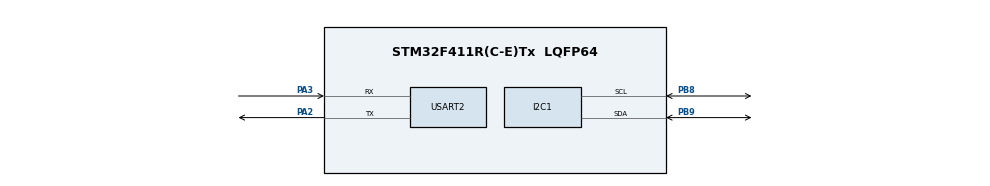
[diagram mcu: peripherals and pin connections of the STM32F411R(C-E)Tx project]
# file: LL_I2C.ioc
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Dma.I2C1_RX.1.Direction=DMA_PERIPH_TO_MEMORY
Dma.I2C1_RX.1.FIFOMode=DMA_FIFOMODE_DISABLE
Dma.I2C1_RX.1.Instance=DMA1_Stream0
Dma.I2C1_RX.1.MemDataAlignment=DMA_MDATAALIGN_BYTE
Dma.I2C1_RX.1.MemInc=DMA_MINC_ENABLE
Dma.I2C1_RX.1.Mode=DMA_NORMAL
Dma.I2C1_RX.1.PeriphDataAlignment=DMA_PDATAALIGN_BYTE
Dma.I2C1_RX.1.PeriphInc=DMA_PINC_DISABLE
Dma.I2C1_RX.1.Priority=DMA_PRIORITY_LOW
Dma.I2C1_TX.0.Direction=DMA_MEMORY_TO_PERIPH
Dma.I2C1_TX.0.FIFOMode=DMA_FIFOMODE_DISABLE
Dma.I2C1_TX.0.Instance=DMA1_Stream1
Dma.I2C1_TX.0.MemDataAlignment=DMA_MDATAALIGN_BYTE
Dma.I2C1_TX.0.MemInc=DMA_MINC_ENABLE
Dma.I2C1_TX.0.Mode=DMA_NORMAL
Dma.I2C1_TX.0.PeriphDataAlignment=DMA_PDATAALIGN_BYTE
Dma.I2C1_TX.0.PeriphInc=DMA_PINC_DISABLE
Dma.I2C1_TX.0.Priority=DMA_PRIORITY_LOW
Dma.Request0=I2C1_TX
Dma.Request1=I2C1_RX
Mcu.Family=STM32F4
Mcu.Name=STM32F411R(C-E)Tx
Mcu.Package=LQFP64
NVIC.DMA1_Stream0_IRQn=true\:0\:0\:false\:false\:false\:false\:true\:true
NVIC.DMA1_Stream1_IRQn=true\:0\:0\:false\:false\:false\:false\:true\:true
NVIC.PriorityGroup=NVIC_PRIORITYGROUP_4
PA2.Mode=Asynchronous
PA2.Signal=USART2_TX
PA3.Mode=Asynchronous
PA3.Signal=USART2_RX
PB8.GPIO_Pu=GPIO_NOPULL
PB8.Mode=I2C
PB8.Signal=I2C1_SCL
PB9.GPIO_Pu=GPIO_NOPULL
PB9.Mode=I2C
PB9.Signal=I2C1_SDA
ProjectManager.HeapSize=0x200
ProjectManager.StackSize=0x400
ProjectManager.TargetToolchain=STM32CubeIDE
RCC.AHBFreq_Value=16000000
RCC.APB1Freq_Value=16000000
RCC.APB2Freq_Value=16000000
RCC.CortexFreq_Value=16000000
RCC.HSE_VALUE=25000000
RCC.HSI_VALUE=16000000
RCC.LSE_VALUE=32768
RCC.SYSCLKFreq_VALUE=16000000
RCC.VCOOutputFreq_Value=192000000
USART2.VirtualMode=VM_ASYNC
board=custom

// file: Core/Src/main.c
/* USER CODE BEGIN Header */
/**
  ******************************************************************************
  * @file           : main.c
  * @brief          : Main program body
  ******************************************************************************
  * @attention
  *
  * Copyright (c) 2026 STMicroelectronics.
  * All rights reserved.
  *
  * This software is licensed under terms that can be found in the LICENSE file
  * in the root directory of this software component.
  * If no LICENSE file comes with this software, it is provided AS-IS.
  *
  ******************************************************************************
  */
/* USER CODE END Header */
#include "main.h"
#include "dma.h"
#include "i2c.h"
#include "usart.h"
#include "gpio.h"

/* USER CODE BEGIN Includes */

#include "stdlib.h"

#define ds3231_addr 0x68<<1

uint8_t NumOfDevices;

uint8_t RTCData[3]={0};

uint8_t RTCDataWrite[3]={0};

volatile uint8_t I2C_Tx_Completed=0;

volatile uint8_t I2C_Rx_Completed=0;

/* USER CODE END Includes */

void SystemClock_Config(void);

/* USER CODE BEGIN 0 */
int __io_putchar(int ch)
{
	while (!LL_USART_IsActiveFlag_TXE(USART2))
	{

	}

	LL_USART_TransmitData8(USART2, (char)ch);

	return ch;
}

void I2C1_DMA_Tx_Completed(void)
{
	I2C_Tx_Completed=1;
}

void I2C1_DMA_Rx_Completed(void)
{
	I2C_Rx_Completed=1;
}

/* USER CODE END 0 */

int main(void)
{

  /* MCU Configuration--------------------------------------------------------*/

  /* Reset of all peripherals, Initializes the Flash interface and the Systick. */
  HAL_Init();

  /* Configure the system clock */
  SystemClock_Config();

  /* Initialize all configured peripherals */
  MX_GPIO_Init();
  MX_DMA_Init();
  MX_I2C1_Init();
  MX_USART2_UART_Init();

  /* Infinite loop */
  while (1)
  {

    /* USER CODE BEGIN 3 */

	 // NumOfDevices=I2C_Scan(I2C1);

	  I2C_Mem_Read_DMA(I2C1,ds3231_addr,0x00,1,RTCData,3);

	  while(I2C_Rx_Completed==0);
	  I2C_Rx_Completed=0;

	  if((bcdToDec(RTCData[0]) % 5) == 0)
	  {

		  RTCDataWrite[0]=DEC_to_BCD(1);
		  RTCDataWrite[1]=DEC_to_BCD(random()%10);
		  RTCDataWrite[2]=DEC_to_BCD(random()%10);
		  printf("New value set\r\n");

		  I2C_Mem_Write_DMA(I2C1,ds3231_addr,0x00,1,RTCDataWrite,3);
		  while(I2C_Tx_Completed==0);
		  I2C_Tx_Completed=0;

	  }

	  printf("DS3231 register values:\r\n");

	  printf("Seconds=%d\r\n",bcdToDec(RTCData[0]));
	  printf("Minutes=%d\r\n",bcdToDec(RTCData[1]));
	  printf("Hours=%d\r\n",bcdToDec(RTCData[2]));

	  for (volatile int32_t i=0;i<1000000;i++)
	  {
		  //DO Nothing
	  }

  }
  /* USER CODE END 3 */
}

void SystemClock_Config(void)
{
  LL_FLASH_SetLatency(LL_FLASH_LATENCY_0);
  while(LL_FLASH_GetLatency()!= LL_FLASH_LATENCY_0)
  {
  }
  LL_PWR_SetRegulVoltageScaling(LL_PWR_REGU_VOLTAGE_SCALE1);
  LL_RCC_HSI_SetCalibTrimming(16);
  LL_RCC_HSI_Enable();

   /* Wait till HSI is ready */
  while(LL_RCC_HSI_IsReady() != 1)
  {

  }
  LL_RCC_SetAHBPrescaler(LL_RCC_SYSCLK_DIV_1);
  LL_RCC_SetAPB1Prescaler(LL_RCC_APB1_DIV_1);
  LL_RCC_SetAPB2Prescaler(LL_RCC_APB2_DIV_1);
  LL_RCC_SetSysClkSource(LL_RCC_SYS_CLKSOURCE_HSI);

   /* Wait till System clock is ready */
  while(LL_RCC_GetSysClkSource() != LL_RCC_SYS_CLKSOURCE_STATUS_HSI)
  {

  }
  LL_SetSystemCoreClock(16000000);

   /* Update the time base */
  if (HAL_InitTick (TICK_INT_PRIORITY) != HAL_OK)
  {
    Error_Handler();
  }
  LL_RCC_SetTIMPrescaler(LL_RCC_TIM_PRESCALER_TWICE);
}

void Error_Handler(void)
{
  __disable_irq();
  while (1)
  {
  }
}
